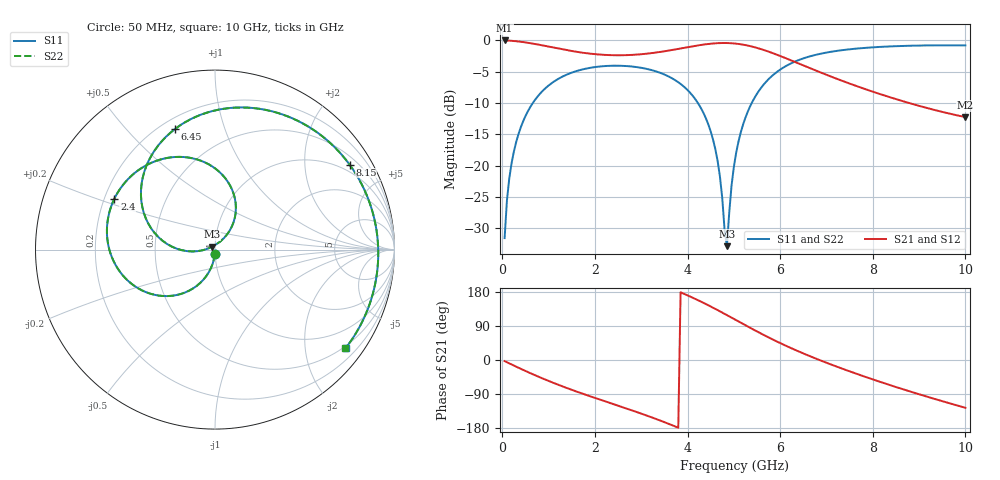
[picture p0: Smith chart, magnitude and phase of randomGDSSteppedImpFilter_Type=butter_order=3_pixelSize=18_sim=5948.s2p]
! freq	dB(S11)	phase(S11)	dB(S12)	phase(S12)
!  dB(S21)	phase(S21)	dB(S22)	phase(S22)
!S-par simulation data
#  GHz  S  DB  R 50
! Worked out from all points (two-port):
!   200 points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, 50 MHz to 10 GHz, reference 50 ohm
!   highest |S21| = -0.01 dB at 50 MHz (marker M1); lowest = -12.2 dB at 10 GHz (marker M2)
!   |S21| within 3 dB of the highest: start of sweep to 6.178 GHz
!   lowest |S11| = -32.8 dB at 4.85 GHz (marker M3), VSWR 1.05, Z = 48.4 + j1.58 ohm
!   |S11| at or under -10 dB: start of sweep to 658.6 MHz; 4.224 GHz to 5.386 GHz (1.162 GHz wide, 24.2 % of centre)
!   |S22| runs from -32.9 to -0.8 dB; largest |S21 - S12| = 0
!   S11 on the Smith chart (normalised r, x): 50 MHz: 1.00, -0.05; 2.4 GHz: 0.24, +0.23; 6.45 GHz: 0.26, +0.69; 8.15 GHz: 0.74, +3.31; 10 GHz: 0.45, -2.93
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0.05  -31.54 -93.1  -0.01 -3.0  -0.01 -3.0  -31.54 -93.1
0.2  -19.61 -102.3  -0.07 -11.8  -0.07 -11.8  -19.61 -102.3
0.5  -12.08 -119.5  -0.32 -28.9  -0.32 -28.9  -12.08 -119.5
1.05  -6.91 -148.3  -1.07 -57.7  -1.07 -57.7  -6.91 -148.3
1.75  -4.60 179.9  -1.98 -89.6  -1.98 -89.6  -4.60 179.9
2.4  -4.04 153.1  -2.36 -116.5  -2.36 -116.5  -4.04 153.1
3.4  -5.15 110.9  -1.85 -159.3  -1.85 -159.3  -5.15 110.9
4  -7.92 81.8  -1.09 170.6  -1.09 170.6  -7.92 81.8
4.45  -13.43 58.5  -0.57 144.3  -0.57 144.3  -13.43 58.5
4.65  -19.25 51.5  -0.44 131.7  -0.44 131.7  -19.25 51.4
4.85  -32.83 134.4  -0.42 118.5  -0.42 118.5  -32.85 134.4
4.95  -23.20 -176.9  -0.45 111.8  -0.45 111.8  -23.20 -176.9
5.05  -17.94 -175.3  -0.52 105.1  -0.52 105.1  -17.94 -175.4
5.3  -11.38 173.2  -0.82 88.4  -0.82 88.4  -11.38 173.2
5.75  -6.19 146.8  -1.79 59.6  -1.79 59.6  -6.19 146.7
6.45  -3.00 108.4  -3.84 19.9  -3.84 19.9  -3.00 108.3
6.7  -2.43 96.0  -4.60 7.2  -4.60 7.2  -2.43 95.9
7.35  -1.55 65.9  -6.48 -23.3  -6.48 -23.3  -1.55 65.8
8.15  -1.04 32.2  -8.55 -57.3  -8.55 -57.3  -1.04 32.1
8.35  -0.97 24.2  -9.02 -65.4  -9.02 -65.4  -0.97 24.1
9.15  -0.81 -6.4  -10.75 -96.0  -10.75 -96.0  -0.81 -6.5
10  -0.80 -37.0  -12.24 -126.1  -12.24 -126.1  -0.80 -37.1
